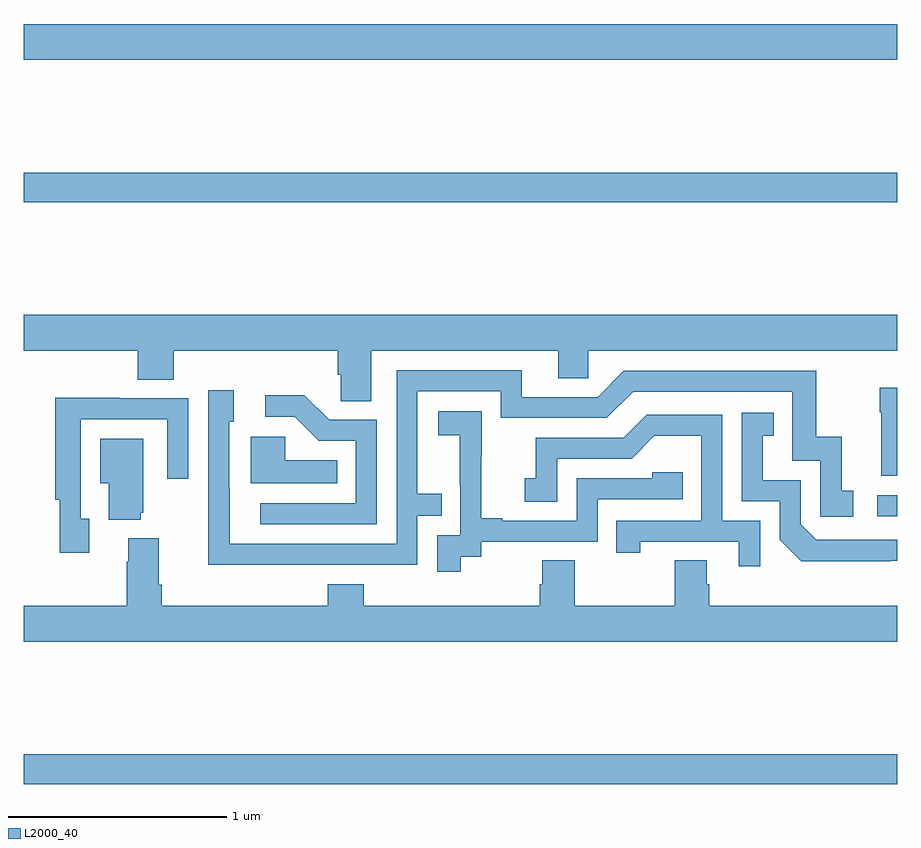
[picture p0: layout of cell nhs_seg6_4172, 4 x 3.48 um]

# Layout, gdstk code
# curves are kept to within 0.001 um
import gdstk
lib = gdstk.Library(unit=1e-6, precision=1e-09)
def R(c, l, rs):  # rectangles x0, y0, x1, y1
    for r in rs: c.add(gdstk.rectangle(r[:2], r[2:], *l))
def P(c, l, *ps):  # polygons
    for p in ps: c.add(gdstk.Polygon(p, *l))
L2000_40 = (2000, 40)

nhs_seg6_4172 = lib.new_cell('nhs_seg6_4172')
R(nhs_seg6_4172, L2000_40, [(357,956.008,361,956.144), (360.909,957.234,361,957.33), (357,958.672,361,958.808), (357,959.324,361,959.488)])
P(nhs_seg6_4172, L2000_40, [(358.591,957.992),(359.447,957.992),(359.447,957.865),(359.586,957.865),(359.586,957.992),(361,957.992),(361,958.156),(357,958.156),(357,957.992),(357.521,957.992),(357.521,957.859),(357.686,957.859),(357.686,957.992),(358.439,957.992),(358.439,957.883),(358.452,957.883),(358.452,957.76),(358.591,957.76)],
  [(358.307,957.012),(358.803,957.012),(358.803,957.237),(358.913,957.237),(358.913,957.338),(358.803,957.338),(358.803,957.807),(359.184,957.807),(359.184,957.684),(359.67,957.684),(359.79,957.804),(360.519,957.804),(360.519,957.489),(360.648,957.489),(360.648,957.231),(360.799,957.231),(360.799,957.351),(360.746,957.351),(360.746,957.598),(360.628,957.598),(360.628,957.9),(359.748,957.9),(359.628,957.78),(359.281,957.78),(359.281,957.903),(358.707,957.903),(358.707,957.108),(357.943,957.108),(357.942,957.666),(357.961,957.666),(357.961,957.811),(357.846,957.811),(357.846,957.317),(357.844,957.317),(357.844,957.011)],
  [(361,957.823),(360.919,957.823),(360.919,957.71),(360.926,957.71),(360.926,957.419),(361,957.419)],
  [(358.617,957.675),(358.398,957.675),(358.285,957.788),(358.107,957.788),(358.107,957.69),(358.241,957.69),(358.352,957.579),(358.521,957.579),(358.521,957.294),(358.083,957.294),(358.083,957.198),(358.617,957.198)],
  [(357.301,957.222),(357.261,957.222),(357.261,957.678),(357.657,957.678),(357.657,957.405),(357.753,957.405),(357.753,957.774),(357.437,957.774),(357.437,957.776),(357.145,957.776),(357.145,957.31),(357.164,957.31),(357.164,957.066),(357.301,957.066)],
  [(359.002,957.049),(359.094,957.049),(359.094,957.117),(359.628,957.117),(359.628,957.312),(360.017,957.312),(360.017,957.435),(359.877,957.435),(359.877,957.408),(359.532,957.408),(359.532,957.213),(359.191,957.213),(359.191,957.226),(359.096,957.226),(359.096,957.509),(359.097,957.509),(359.097,957.715),(358.899,957.715),(358.899,957.605),(358.997,957.605),(358.997,957.377),(358.998,957.377),(358.998,957.147),(358.893,957.147),(358.893,956.979),(359.002,956.979)],
  [(360.968,957.03),(361,957.03),(361,957.126),(360.63,957.126),(360.558,957.198),(360.558,957.399),(360.385,957.399),(360.385,957.603),(360.434,957.603),(360.434,957.709),(360.288,957.709),(360.288,957.303),(360.462,957.303),(360.462,957.126),(360.56,957.029)],
  [(360.372,957.213),(360.198,957.213),(360.198,957.699),(359.852,957.699),(359.747,957.594),(359.344,957.594),(359.344,957.409),(359.295,957.409),(359.295,957.3),(359.442,957.3),(359.442,957.498),(359.784,957.498),(359.888,957.602),(360.102,957.602),(360.102,957.213),(359.713,957.213),(359.713,957.066),(359.824,957.066),(359.824,957.117),(360.275,957.117),(360.275,957.006),(360.372,957.006)],
  [(358.436,957.49),(358.197,957.49),(358.197,957.598),(358.04,957.598),(358.04,957.386),(358.436,957.386)],
  [(357.536,957.249),(357.547,957.249),(357.547,957.589),(357.35,957.589),(357.35,957.386),(357.389,957.386),(357.389,957.218),(357.536,957.218)],
  [(361,956.824),(360.14,956.824),(360.14,956.922),(360.127,956.922),(360.127,957.032),(359.98,957.032),(359.98,956.824),(359.523,956.824),(359.523,957.032),(359.375,957.032),(359.375,956.922),(359.363,956.922),(359.363,956.824),(358.556,956.824),(358.556,956.923),(358.391,956.923),(358.391,956.824),(357.632,956.824),(357.632,956.92),(357.619,956.92),(357.619,957.133),(357.479,957.133),(357.479,957.026),(357.472,957.026),(357.472,956.824),(357,956.824),(357,956.66),(361,956.66)])

lib.write_gds('nhs_seg6_4172.gds')
